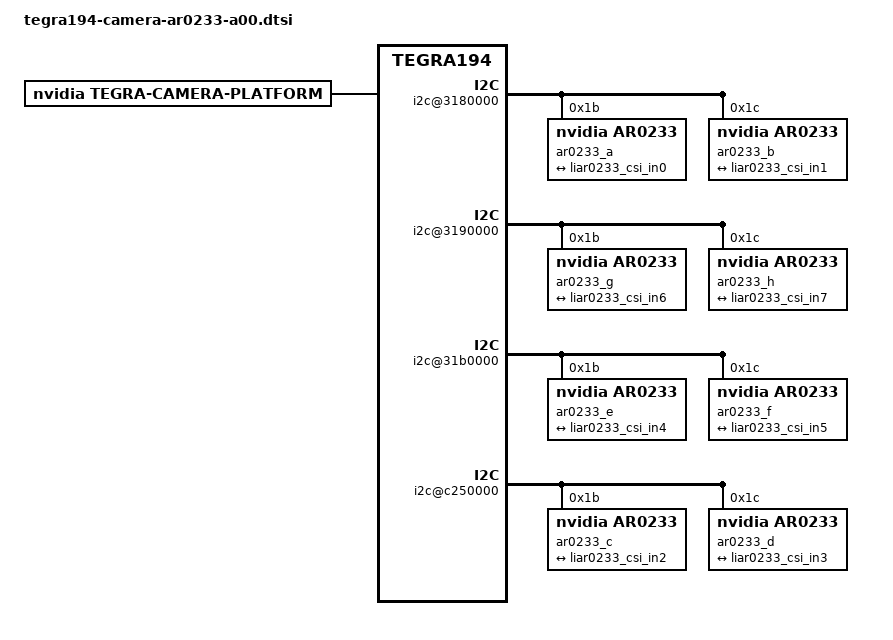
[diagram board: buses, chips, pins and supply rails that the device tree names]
/*
 * Copyright (c) 2020, NVIDIA CORPORATION.  All rights reserved.
 *
 * This program is free software; you can redistribute it and/or modify
 * it under the terms of the GNU General Public License as published by
 * the Free Software Foundation; either version 2 of the License, or
 * (at your option) any later version.
 *
 * This program is distributed in the hope that it will be useful, but WITHOUT
 * ANY WARRANTY; without even the implied warranty of MERCHANTABILITY or
 * FITNESS FOR A PARTICULAR PURPOSE.  See the GNU General Public License for
 * more details.
 *
 * You should have received a copy of the GNU General Public License
 * along with this program.  If not, see <http://www.gnu.org/licenses/>.
 */

/ {
	host1x {
		vi@15c10000 {
			num-channels = <8>;
			ports {
				#address-cells = <1>;
				#size-cells = <0>;
				port@0 {
					reg = <0>;
					liar0233_vi_in0: endpoint {
						vc-id = <0>;
						port-index = <0>;
						bus-width = <2>;
						remote-endpoint = <&liar0233_csi_out0>;
					};
				};
				port@1 {
					reg = <1>;
					liar0233_vi_in1: endpoint {
						vc-id = <1>;
						port-index = <0>;
						bus-width = <2>;
						remote-endpoint = <&liar0233_csi_out1>;
					};
				};
				port@2 {
					reg = <2>;
					liar0233_vi_in2: endpoint {
						vc-id = <0>;
						port-index = <2>;
						bus-width = <2>;
						remote-endpoint = <&liar0233_csi_out2>;
					};
				};
				port@3 {
					reg = <3>;
					liar0233_vi_in3: endpoint {
						vc-id = <1>;
						port-index = <2>;
						bus-width = <2>;
						remote-endpoint = <&liar0233_csi_out3>;
					};
				};
				port@4 {
					reg = <4>;
					liar0233_vi_in4: endpoint {
						vc-id = <0>;
						port-index = <4>;
						bus-width = <2>;
						remote-endpoint = <&liar0233_csi_out4>;
					};
				};
				port@5 {
					reg = <5>;
					liar0233_vi_in5: endpoint {
						vc-id = <1>;
						port-index = <4>;
						bus-width = <2>;
						remote-endpoint = <&liar0233_csi_out5>;
					};
				};
				port@6 {
					reg = <6>;
					liar0233_vi_in6: endpoint {
						vc-id = <0>;
						port-index = <5>;
						bus-width = <2>;
						remote-endpoint = <&liar0233_csi_out6>;
					};
				};
				port@7 {
					reg = <7>;
					liar0233_vi_in7: endpoint {
						vc-id = <1>;
						port-index = <5>;
						bus-width = <2>;
						remote-endpoint = <&liar0233_csi_out7>;
					};
				};
			};
		};

		nvcsi@15a00000 {
			num-channels = <8>;
			#address-cells = <1>;
			#size-cells = <0>;
			channel@0 {
				reg = <0>;
				ports {
					#address-cells = <1>;
					#size-cells = <0>;
					port@0 {
						reg = <0>;
						liar0233_csi_in0: endpoint@0 {
							port-index = <0>;
							bus-width = <2>;
							remote-endpoint = <&liar0233_ar0233_out0>;
						};
					};
					port@1 {
						reg = <1>;
						liar0233_csi_out0: endpoint@1 {
							remote-endpoint = <&liar0233_vi_in0>;
						};
					};
				};
			};

			channel@1 {
				reg = <1>;
				ports {
					#address-cells = <1>;
					#size-cells = <0>;
					port@0 {
						reg = <0>;
						liar0233_csi_in1: endpoint@2 {
							port-index = <0>;
							bus-width = <2>;
							remote-endpoint = <&liar0233_ar0233_out1>;
						};
					};
					port@1 {
						reg = <1>;
						liar0233_csi_out1: endpoint@3 {
							remote-endpoint = <&liar0233_vi_in1>;
						};
					};
				};
			};

			channel@2 {
				reg = <2>;
				ports {
					#address-cells = <1>;
					#size-cells = <0>;
					port@0 {
						reg = <0>;
						liar0233_csi_in2: endpoint@4 {
							port-index = <2>;
							bus-width = <2>;
							remote-endpoint = <&liar0233_ar0233_out2>;
						};
					};
					port@1 {
						reg = <1>;
						liar0233_csi_out2: endpoint@5 {
							remote-endpoint = <&liar0233_vi_in2>;
						};
					};
				};
			};

			channel@3 {
				reg = <3>;
				ports {
					#address-cells = <1>;
					#size-cells = <0>;
					port@0 {
						reg = <0>;
						liar0233_csi_in3: endpoint@6 {
							port-index = <2>;
							bus-width = <2>;
							remote-endpoint = <&liar0233_ar0233_out3>;
						};
					};
					port@1 {
						reg = <1>;
						liar0233_csi_out3: endpoint@7 {
							remote-endpoint = <&liar0233_vi_in3>;
						};
					};
				};
			};
			channel@4 {
				reg = <4>;
				ports {
					#address-cells = <1>;
					#size-cells = <0>;
					port@0 {
						reg = <0>;
						liar0233_csi_in4: endpoint@8 {
							port-index = <4>;
							bus-width = <2>;
							remote-endpoint = <&liar0233_ar0233_out4>;
						};
					};
					port@1 {
						reg = <1>;
						liar0233_csi_out4: endpoint@9 {
							remote-endpoint = <&liar0233_vi_in4>;
						};
					};
				};
			};
			channel@5 {
				reg = <5>;
				ports {
					#address-cells = <1>;
					#size-cells = <0>;
					port@0 {
						reg = <0>;
						liar0233_csi_in5: endpoint@10 {
							port-index = <4>;
							bus-width = <2>;
							remote-endpoint = <&liar0233_ar0233_out5>;
						};
					};
					port@1 {
						reg = <1>;
						liar0233_csi_out5: endpoint@11 {
							remote-endpoint = <&liar0233_vi_in5>;
						};
					};
				};
			};
			channel@6 {
				reg = <6>;
				ports {
					#address-cells = <1>;
					#size-cells = <0>;
					port@0 {
						reg = <0>;
						liar0233_csi_in6: endpoint@12 {
							port-index = <6>;
							bus-width = <2>;
							remote-endpoint = <&liar0233_ar0233_out6>;
						};
					};
					port@1 {
						reg = <1>;
						liar0233_csi_out6: endpoint@13 {
							remote-endpoint = <&liar0233_vi_in6>;
						};
					};
				};
			};
			channel@7 {
				reg = <7>;
				ports {
					#address-cells = <1>;
					#size-cells = <0>;
					port@0 {
						reg = <0>;
						liar0233_csi_in7: endpoint@14 {
							port-index = <6>;
							bus-width = <2>;
							remote-endpoint = <&liar0233_ar0233_out7>;
						};
					};
					port@1 {
						reg = <1>;
						liar0233_csi_out7: endpoint@15 {
							remote-endpoint = <&liar0233_vi_in7>;
						};
					};
				};
			};
		};
	};

	i2c@3180000 {
		ar0233_a@1b {
			compatible = "nvidia,ar0233";
			/* I2C device address */
			reg = <0x1b>;
			reg_mux = <0>;

			/* Physical dimensions of sensor */
			physical_w = "15.0";
			physical_h = "12.5";

			sensor_model = "ar0233";

			/* Defines number of frames to be dropped by driver internally after applying */
			/* sensor crop settings. Some sensors send corrupt frames after applying */
			/* crop co-ordinates */
			post_crop_frame_drop = "0";

			/* enable CID_SENSOR_MODE_ID for sensor modes selection */
			use_sensor_mode_id = "true";

			mode0 {/*mode ar0233_MODE_2048X1280_CROP_30FPS_LINEAR*/
				mclk_khz = "24000";
				num_lanes = "2";
				tegra_sinterface = "serial_a";
				vc_id = "0";
				discontinuous_clk = "no";
				dpcm_enable = "false";
				cil_settletime = "0";
				dynamic_pixel_bit_depth = "12";
				csi_pixel_bit_depth = "12";
				mode_type = "bayer";
				pixel_phase = "grbg";

				active_w = "2048";
				active_h = "1280";
				readout_orientation = "0";
				line_length = "3344";
				inherent_gain = "1";
				pix_clk_hz = "135030720";
				serdes_pix_clk_hz = "833333333";

				gain_factor = "100";
				min_gain_val = "100"; /* dB */
				max_gain_val = "800"; /* dB */
				step_gain_val = "1"; /* 0.3 */
				default_gain = "100";
				min_hdr_ratio = "1";
				max_hdr_ratio = "1";
				framerate_factor = "1000000";
				min_framerate = "30000000";
				max_framerate = "30000000";
				step_framerate = "1";
				default_framerate = "30000000";
				exposure_factor = "1000000";
				min_exp_time = "118"; /*us, 2 lines*/
				max_exp_time = "33333";
				step_exp_time = "1";
				default_exp_time = "33333";/* us */
				embedded_metadata_height = "0";
			};

			mode1 {/*mode ar0233_MODE_1920X1080_CROP_30FPS*/
				mclk_khz = "24000";
				num_lanes = "2";
				tegra_sinterface = "serial_a";
				vc_id = "0";
				discontinuous_clk = "no";
				dpcm_enable = "false";
				cil_settletime = "0";
				dynamic_pixel_bit_depth = "12";
				csi_pixel_bit_depth = "12";
				mode_type = "bayer";
				pixel_phase = "rggb";

				active_w = "1920";
				active_h = "1080";
				readout_orientation = "0";
				line_length = "3640";
				inherent_gain = "1";
				pix_clk_hz = "146983200";
				serdes_pix_clk_hz = "833333333";

				gain_factor = "100";
				min_gain_val = "100"; /* dB */
				max_gain_val = "800"; /* dB */
				step_gain_val = "1"; /* 0.3 */
				default_gain = "100";
				min_hdr_ratio = "1";
				max_hdr_ratio = "1";
				framerate_factor = "1000000";
				min_framerate = "30000000";
				max_framerate = "30000000";
				step_framerate = "1";
				default_framerate = "30000000";
				exposure_factor = "1000000";
				min_exp_time = "49"; /*us, 2 lines*/
				max_exp_time = "33333";
				step_exp_time = "1";
				default_exp_time = "33333";/* us */
				embedded_metadata_height = "0";
			};
			ports {
				#address-cells = <1>;
				#size-cells = <0>;
				port@0 {
					reg = <0>;
					liar0233_ar0233_out0: endpoint {
						vc-id = <0>;
						port-index = <0>;
						bus-width = <2>;
						remote-endpoint = <&liar0233_csi_in0>;
						};
					};
				};
			gmsl-link {
				src-csi-port = "b";
				dst-csi-port = "a";
				serdes-csi-link = "a";
				csi-mode = "1x4";
				st-vc = <0>;
				vc-id = <0>;
				num-lanes = <2>;
				streams = "ued-u1", "raw12";
				};
			};

		ar0233_b@1c {
			compatible = "nvidia,ar0233";

			reg = <0x1c>;
			reg_mux = <0>;
			/* Physical dimensions of sensor */
			physical_w = "15.0";
			physical_h = "12.5";

			sensor_model ="ar0233";

			/* Defines number of frames to be dropped by driver internally after applying */
			/* sensor crop settings. Some sensors send corrupt frames after applying */
			/* crop co-ordinates */
			post_crop_frame_drop = "0";

			/* Convert Gain to unit of dB (decibel) befor passing to kernel driver */
			//use_decibel_gain = "true";

			/* enable CID_SENSOR_MODE_ID for sensor modes selection */
			use_sensor_mode_id = "true";

			mode0 {/*mode ar0233_MODE_2048X1280_CROP_30FPS_LINEAR*/
				mclk_khz = "24000";
				num_lanes = "2";
				tegra_sinterface = "serial_a";
				vc_id = "1";
				discontinuous_clk = "no";
				dpcm_enable = "false";
				cil_settletime = "0";
				dynamic_pixel_bit_depth = "12";
				csi_pixel_bit_depth = "12";
				mode_type = "bayer";
				pixel_phase = "grbg";

				active_w = "2048";
				active_h = "1280";
				readout_orientation = "0";
				line_length = "3344";
				inherent_gain = "1";
				pix_clk_hz = "135030720";
				serdes_pix_clk_hz = "833333333";

				gain_factor = "100";
				min_gain_val = "100"; /* dB */
				max_gain_val = "800"; /* dB */
				step_gain_val = "1"; /* 0.3 */
				default_gain = "100";
				min_hdr_ratio = "1";
				max_hdr_ratio = "1";
				framerate_factor = "1000000";
				min_framerate = "30000000";
				max_framerate = "30000000";
				step_framerate = "1";
				default_framerate = "30000000";
				exposure_factor = "1000000";
				min_exp_time = "118"; /*us, 2 lines*/
				max_exp_time = "33333";
				step_exp_time = "1";
				default_exp_time = "33333";/* us */
				embedded_metadata_height = "0";
			};

			mode1 {/*mode ar0233_MODE_1920X1080_CROP_30FPS*/
				mclk_khz = "24000";
				num_lanes = "2";
				tegra_sinterface = "serial_a";
				vc_id = "1";
				discontinuous_clk = "no";
				dpcm_enable = "false";
				cil_settletime = "0";
				dynamic_pixel_bit_depth = "12";
				csi_pixel_bit_depth = "12";
				mode_type = "bayer";
				pixel_phase = "rggb";

				active_w = "1920";
				active_h = "1080";
				readout_orientation = "0";
				line_length = "3640";
				inherent_gain = "1";
				pix_clk_hz = "146983200";
				serdes_pix_clk_hz = "833333333";

				gain_factor = "100";
				min_gain_val = "100"; /* dB */
				max_gain_val = "800"; /* dB */
				step_gain_val = "1"; /* 0.3 */
				default_gain = "100";
				min_hdr_ratio = "1";
				max_hdr_ratio = "1";
				framerate_factor = "1000000";
				min_framerate = "30000000";
				max_framerate = "30000000";
				step_framerate = "1";
				default_framerate = "30000000";
				exposure_factor = "1000000";
				min_exp_time = "49"; /*us, 2 lines*/
				max_exp_time = "33333";
				step_exp_time = "1";
				default_exp_time = "33333";/* us */
				embedded_metadata_height = "0";
			};
			ports {
				#address-cells = <1>;
				#size-cells = <0>;
				port@0 {
					reg = <0>;
					liar0233_ar0233_out1: endpoint {
						vc-id = <1>;
						port-index = <0>;
						bus-width = <2>;
						remote-endpoint = <&liar0233_csi_in1>;
						};
					};
				};
			gmsl-link {
				src-csi-port = "b";
				dst-csi-port = "a";
				serdes-csi-link = "b";
				csi-mode = "1x4";
				st-vc = <0>;
				vc-id = <1>;
				num-lanes = <2>;
				streams = "ued-u1", "raw12";
				};
			};
	};

	i2c@3190000 {
		ar0233_g@1b {
			compatible = "nvidia,ar0233";
			/* I2C device address */
			reg = <0x1b>;
			reg_mux = <1>;

			/* Physical dimensions of sensor */
			physical_w = "15.0";
			physical_h = "12.5";

			sensor_model = "ar0233";

			/* Defines number of frames to be dropped by driver internally after applying */
			/* sensor crop settings. Some sensors send corrupt frames after applying */
			/* crop co-ordinates */
			post_crop_frame_drop = "0";

			/* enable CID_SENSOR_MODE_ID for sensor modes selection */
			use_sensor_mode_id = "true";

			mode0 {/*mode ar0233_MODE_2048X1280_CROP_30FPS_LINEAR*/
				mclk_khz = "24000";
				num_lanes = "2";
				tegra_sinterface = "serial_g";
				vc_id = "0";
				discontinuous_clk = "no";
				dpcm_enable = "false";
				cil_settletime = "0";
				dynamic_pixel_bit_depth = "12";
				csi_pixel_bit_depth = "12";
				mode_type = "bayer";
				pixel_phase = "grbg";

				active_w = "2048";
				active_h = "1280";
				readout_orientation = "0";
				line_length = "3344";
				inherent_gain = "1";
				pix_clk_hz = "135030720";
				serdes_pix_clk_hz = "833333333";

				gain_factor = "100";
				min_gain_val = "100"; /* dB */
				max_gain_val = "800"; /* dB */
				step_gain_val = "1"; /* 0.3 */
				default_gain = "100";
				min_hdr_ratio = "1";
				max_hdr_ratio = "1";
				framerate_factor = "1000000";
				min_framerate = "30000000";
				max_framerate = "30000000";
				step_framerate = "1";
				default_framerate = "30000000";
				exposure_factor = "1000000";
				min_exp_time = "118"; /*us, 2 lines*/
				max_exp_time = "33333";
				step_exp_time = "1";
				default_exp_time = "33333";/* us */
				embedded_metadata_height = "0";
			};

			mode1 {/*mode ar0233_MODE_1920X1080_CROP_30FPS*/
				mclk_khz = "24000";
				num_lanes = "2";
				tegra_sinterface = "serial_g";
				vc_id = "0";
				discontinuous_clk = "no";
				dpcm_enable = "false";
				cil_settletime = "0";
				dynamic_pixel_bit_depth = "12";
				csi_pixel_bit_depth = "12";
				mode_type = "bayer";
				pixel_phase = "rggb";

				active_w = "1920";
				active_h = "1080";
				readout_orientation = "0";
				line_length = "3640";
				inherent_gain = "1";
				pix_clk_hz = "146983200";
				serdes_pix_clk_hz = "833333333";

				gain_factor = "100";
				min_gain_val = "100"; /* dB */
				max_gain_val = "800"; /* dB */
				step_gain_val = "1"; /* 0.3 */
				default_gain = "100";
				min_hdr_ratio = "1";
				max_hdr_ratio = "1";
				framerate_factor = "1000000";
				min_framerate = "30000000";
				max_framerate = "30000000";
				step_framerate = "1";
				default_framerate = "30000000";
				exposure_factor = "1000000";
				min_exp_time = "49"; /*us, 2 lines*/
				max_exp_time = "33333";
				step_exp_time = "1";
				default_exp_time = "33333";/* us */
				embedded_metadata_height = "0";
			};
			ports {
				#address-cells = <1>;
				#size-cells = <0>;
				port@0 {
					reg = <0>;
					liar0233_ar0233_out6: endpoint {
						vc-id = <0>;
						port-index = <5>;
						bus-width = <2>;
						remote-endpoint = <&liar0233_csi_in6>;
						};
					};
				};
			gmsl-link {
				src-csi-port = "b";
				dst-csi-port = "a";
				serdes-csi-link = "a";
				csi-mode = "1x4";
				st-vc = <0>;
				vc-id = <0>;
				num-lanes = <2>;
				streams = "ued-u1", "raw12";
				};
			};

		ar0233_h@1c {
			compatible = "nvidia,ar0233";

			reg = <0x1c>;
			reg_mux = <1>;
			/* Physical dimensions of sensor */
			physical_w = "15.0";
			physical_h = "12.5";

			sensor_model ="ar0233";

			/* Defines number of frames to be dropped by driver internally after applying */
			/* sensor crop settings. Some sensors send corrupt frames after applying */
			/* crop co-ordinates */
			post_crop_frame_drop = "0";

			/* Convert Gain to unit of dB (decibel) befor passing to kernel driver */
			//use_decibel_gain = "true";

			/* enable CID_SENSOR_MODE_ID for sensor modes selection */
			use_sensor_mode_id = "true";

			mode0 {/*mode ar0233_MODE_2048X1280_CROP_30FPS_LINEAR*/
				mclk_khz = "24000";
				num_lanes = "2";
				tegra_sinterface = "serial_g";
				vc_id = "1";
				discontinuous_clk = "no";
				dpcm_enable = "false";
				cil_settletime = "0";
				dynamic_pixel_bit_depth = "12";
				csi_pixel_bit_depth = "12";
				mode_type = "bayer";
				pixel_phase = "grbg";

				active_w = "2048";
				active_h = "1280";
				readout_orientation = "0";
				line_length = "3344";
				inherent_gain = "1";
				pix_clk_hz = "135030720";
				serdes_pix_clk_hz = "833333333";

				gain_factor = "100";
				min_gain_val = "100"; /* dB */
				max_gain_val = "800"; /* dB */
				step_gain_val = "1"; /* 0.3 */
				default_gain = "100";
				min_hdr_ratio = "1";
				max_hdr_ratio = "1";
				framerate_factor = "1000000";
				min_framerate = "30000000";
				max_framerate = "30000000";
				step_framerate = "1";
				default_framerate = "30000000";
				exposure_factor = "1000000";
				min_exp_time = "118"; /*us, 2 lines*/
				max_exp_time = "33333";
				step_exp_time = "1";
				default_exp_time = "33333";/* us */
				embedded_metadata_height = "0";
			};

			mode1 {/*mode ar0233_MODE_1920X1080_CROP_30FPS*/
				mclk_khz = "24000";
				num_lanes = "2";
				tegra_sinterface = "serial_g";
				vc_id = "1";
				discontinuous_clk = "no";
				dpcm_enable = "false";
				cil_settletime = "0";
				dynamic_pixel_bit_depth = "12";
				csi_pixel_bit_depth = "12";
				mode_type = "bayer";
				pixel_phase = "rggb";

				active_w = "1920";
				active_h = "1080";
				readout_orientation = "0";
				line_length = "3640";
				inherent_gain = "1";
				pix_clk_hz = "146983200";
				serdes_pix_clk_hz = "833333333";

				gain_factor = "100";
				min_gain_val = "100"; /* dB */
				max_gain_val = "800"; /* dB */
				step_gain_val = "1"; /* 0.3 */
				default_gain = "100";
				min_hdr_ratio = "1";
				max_hdr_ratio = "1";
				framerate_factor = "1000000";
				min_framerate = "30000000";
				max_framerate = "30000000";
				step_framerate = "1";
				default_framerate = "30000000";
				exposure_factor = "1000000";
				min_exp_time = "49"; /*us, 2 lines*/
				max_exp_time = "33333";
				step_exp_time = "1";
				default_exp_time = "33333";/* us */
				embedded_metadata_height = "0";
			};
			ports {
				#address-cells = <1>;
				#size-cells = <0>;
				port@0 {
					reg = <0>;
					liar0233_ar0233_out7: endpoint {
						vc-id = <1>;
						port-index = <5>;
						bus-width = <2>;
						remote-endpoint = <&liar0233_csi_in7>;
						};
					};
				};
			gmsl-link {
				src-csi-port = "b";
				dst-csi-port = "a";
				serdes-csi-link = "b";
				csi-mode = "1x4";
				st-vc = <0>;
				vc-id = <1>;
				num-lanes = <2>;
				streams = "ued-u1", "raw12";
				};
			};
	};

	i2c@31b0000 {
		ar0233_e@1b {
			compatible = "nvidia,ar0233";
			/* I2C device address */
			reg = <0x1b>;
			reg_mux = <2>;

			/* Physical dimensions of sensor */
			physical_w = "15.0";
			physical_h = "12.5";

			sensor_model = "ar0233";

			/* Defines number of frames to be dropped by driver internally after applying */
			/* sensor crop settings. Some sensors send corrupt frames after applying */
			/* crop co-ordinates */
			post_crop_frame_drop = "0";

			/* enable CID_SENSOR_MODE_ID for sensor modes selection */
			use_sensor_mode_id = "true";

			mode0 {/*mode ar0233_MODE_2048X1280_CROP_30FPS_LINEAR*/
				mclk_khz = "24000";
				num_lanes = "2";
				tegra_sinterface = "serial_e";
				vc_id = "0";
				discontinuous_clk = "no";
				dpcm_enable = "false";
				cil_settletime = "0";
				dynamic_pixel_bit_depth = "12";
				csi_pixel_bit_depth = "12";
				mode_type = "bayer";
				pixel_phase = "grbg";

				active_w = "2048";
				active_h = "1280";
				readout_orientation = "0";
				line_length = "3344";
				inherent_gain = "1";
				pix_clk_hz = "135030720";
				serdes_pix_clk_hz = "833333333";

				gain_factor = "100";
				min_gain_val = "100"; /* dB */
				max_gain_val = "800"; /* dB */
				step_gain_val = "1"; /* 0.3 */
				default_gain = "100";
				min_hdr_ratio = "1";
				max_hdr_ratio = "1";
				framerate_factor = "1000000";
				min_framerate = "30000000";
				max_framerate = "30000000";
				step_framerate = "1";
				default_framerate = "30000000";
				exposure_factor = "1000000";
				min_exp_time = "118"; /*us, 2 lines*/
				max_exp_time = "33333";
				step_exp_time = "1";
				default_exp_time = "33333";/* us */
				embedded_metadata_height = "0";
			};

			mode1 {/*mode ar0233_MODE_1920X1080_CROP_30FPS*/
				mclk_khz = "24000";
				num_lanes = "2";
				tegra_sinterface = "serial_e";
				vc_id = "0";
				discontinuous_clk = "no";
				dpcm_enable = "false";
				cil_settletime = "0";
				dynamic_pixel_bit_depth = "12";
				csi_pixel_bit_depth = "12";
				mode_type = "bayer";
				pixel_phase = "rggb";

				active_w = "1920";
				active_h = "1080";
				readout_orientation = "0";
				line_length = "3640";
				inherent_gain = "1";
				pix_clk_hz = "146983200";
				serdes_pix_clk_hz = "833333333";

				gain_factor = "100";
				min_gain_val = "100"; /* dB */
				max_gain_val = "800"; /* dB */
				step_gain_val = "1"; /* 0.3 */
				default_gain = "100";
				min_hdr_ratio = "1";
				max_hdr_ratio = "1";
				framerate_factor = "1000000";
				min_framerate = "30000000";
				max_framerate = "30000000";
				step_framerate = "1";
				default_framerate = "30000000";
				exposure_factor = "1000000";
				min_exp_time = "49"; /*us, 2 lines*/
				max_exp_time = "33333";
				step_exp_time = "1";
				default_exp_time = "33333";/* us */
				embedded_metadata_height = "0";
			};
			ports {
				#address-cells = <1>;
				#size-cells = <0>;
				port@0 {
					reg = <0>;
					liar0233_ar0233_out4: endpoint {
						vc-id = <0>;
						port-index = <4>;
						bus-width = <2>;
						remote-endpoint = <&liar0233_csi_in4>;
						};
					};
				};
			gmsl-link {
				src-csi-port = "b";
				dst-csi-port = "a";
				serdes-csi-link = "a";
				csi-mode = "1x4";
				st-vc = <0>;
				vc-id = <0>;
				num-lanes = <2>;
				streams = "ued-u1", "raw12";
				};
			};

		ar0233_f@1c {
			compatible = "nvidia,ar0233";

			reg = <0x1c>;
			reg_mux = <2>;
			/* Physical dimensions of sensor */
			physical_w = "15.0";
			physical_h = "12.5";

			sensor_model ="ar0233";

			/* Defines number of frames to be dropped by driver internally after applying */
			/* sensor crop settings. Some sensors send corrupt frames after applying */
			/* crop co-ordinates */
			post_crop_frame_drop = "0";

			/* Convert Gain to unit of dB (decibel) befor passing to kernel driver */
			//use_decibel_gain = "true";

			/* enable CID_SENSOR_MODE_ID for sensor modes selection */
			use_sensor_mode_id = "true";

			mode0 {/*mode ar0233_MODE_2048X1280_CROP_30FPS_LINEAR*/
				mclk_khz = "24000";
				num_lanes = "2";
				tegra_sinterface = "serial_e";
				vc_id = "1";
				discontinuous_clk = "no";
				dpcm_enable = "false";
				cil_settletime = "0";
				dynamic_pixel_bit_depth = "12";
				csi_pixel_bit_depth = "12";
				mode_type = "bayer";
				pixel_phase = "grbg";

				active_w = "2048";
				active_h = "1280";
				readout_orientation = "0";
				line_length = "3344";
				inherent_gain = "1";
				pix_clk_hz = "135030720";
				serdes_pix_clk_hz = "833333333";

				gain_factor = "100";
				min_gain_val = "100"; /* dB */
				max_gain_val = "800"; /* dB */
				step_gain_val = "1"; /* 0.3 */
				default_gain = "100";
				min_hdr_ratio = "1";
				max_hdr_ratio = "1";
				framerate_factor = "1000000";
				min_framerate = "30000000";
				max_framerate = "30000000";
				step_framerate = "1";
				default_framerate = "30000000";
				exposure_factor = "1000000";
				min_exp_time = "118"; /*us, 2 lines*/
				max_exp_time = "33333";
				step_exp_time = "1";
				default_exp_time = "33333";/* us */
				embedded_metadata_height = "0";
			};

			mode1 {/*mode ar0233_MODE_1920X1080_CROP_30FPS*/
				mclk_khz = "24000";
				num_lanes = "2";
				tegra_sinterface = "serial_e";
				vc_id = "1";
				discontinuous_clk = "no";
				dpcm_enable = "false";
				cil_settletime = "0";
				dynamic_pixel_bit_depth = "12";
				csi_pixel_bit_depth = "12";
				mode_type = "bayer";
				pixel_phase = "rggb";

				active_w = "1920";
				active_h = "1080";
				readout_orientation = "0";
				line_length = "3640";
				inherent_gain = "1";
				pix_clk_hz = "146983200";
				serdes_pix_clk_hz = "833333333";

				gain_factor = "100";
				min_gain_val = "100"; /* dB */
				max_gain_val = "800"; /* dB */
				step_gain_val = "1"; /* 0.3 */
				default_gain = "100";
				min_hdr_ratio = "1";
				max_hdr_ratio = "1";
				framerate_factor = "1000000";
				min_framerate = "30000000";
				max_framerate = "30000000";
				step_framerate = "1";
				default_framerate = "30000000";
				exposure_factor = "1000000";
				min_exp_time = "49"; /*us, 2 lines*/
				max_exp_time = "33333";
				step_exp_time = "1";
				default_exp_time = "33333";/* us */
				embedded_metadata_height = "0";
			};
			ports {
				#address-cells = <1>;
				#size-cells = <0>;
				port@0 {
					reg = <0>;
					liar0233_ar0233_out5: endpoint {
						vc-id = <1>;
						port-index = <4>;
						bus-width = <2>;
						remote-endpoint = <&liar0233_csi_in5>;
						};
					};
				};
			gmsl-link {
				src-csi-port = "b";
				dst-csi-port = "a";
				serdes-csi-link = "b";
				csi-mode = "1x4";
				st-vc = <0>;
				vc-id = <1>;
				num-lanes = <2>;
				streams = "ued-u1", "raw12";
				};
			};
	};

	i2c@c250000 {
		ar0233_c@1b {
			compatible = "nvidia,ar0233";
			/* I2C device address */
			reg = <0x1b>;
			reg_mux = <3>;

			/* Physical dimensions of sensor */
			physical_w = "15.0";
			physical_h = "12.5";

			sensor_model = "ar0233";

			/* Defines number of frames to be dropped by driver internally after applying */
			/* sensor crop settings. Some sensors send corrupt frames after applying */
			/* crop co-ordinates */
			post_crop_frame_drop = "0";

			/* enable CID_SENSOR_MODE_ID for sensor modes selection */
			use_sensor_mode_id = "true";

			mode0 {/*mode ar0233_MODE_2048X1280_CROP_30FPS_LINEAR*/
				mclk_khz = "24000";
				num_lanes = "2";
				tegra_sinterface = "serial_c";
				vc_id = "0";
				discontinuous_clk = "no";
				dpcm_enable = "false";
				cil_settletime = "0";
				dynamic_pixel_bit_depth = "12";
				csi_pixel_bit_depth = "12";
				mode_type = "bayer";
				pixel_phase = "grbg";

				active_w = "2048";
				active_h = "1280";
				readout_orientation = "0";
				line_length = "3344";
				inherent_gain = "1";
				pix_clk_hz = "135030720";
				serdes_pix_clk_hz = "833333333";

				gain_factor = "100";
				min_gain_val = "100"; /* dB */
				max_gain_val = "800"; /* dB */
				step_gain_val = "1"; /* 0.3 */
				default_gain = "100";
				min_hdr_ratio = "1";
				max_hdr_ratio = "1";
				framerate_factor = "1000000";
				min_framerate = "30000000";
				max_framerate = "30000000";
				step_framerate = "1";
				default_framerate = "30000000";
				exposure_factor = "1000000";
				min_exp_time = "118"; /*us, 2 lines*/
				max_exp_time = "33333";
				step_exp_time = "1";
				default_exp_time = "33333";/* us */
				embedded_metadata_height = "0";
			};

			mode1 {/*mode ar0233_MODE_1920X1080_CROP_30FPS*/
				mclk_khz = "24000";
				num_lanes = "2";
				tegra_sinterface = "serial_c";
				vc_id = "0";
				discontinuous_clk = "no";
				dpcm_enable = "false";
				cil_settletime = "0";
				dynamic_pixel_bit_depth = "12";
				csi_pixel_bit_depth = "12";
				mode_type = "bayer";
				pixel_phase = "rggb";

				active_w = "1920";
				active_h = "1080";
				readout_orientation = "0";
				line_length = "3640";
				inherent_gain = "1";
				pix_clk_hz = "146983200";
				serdes_pix_clk_hz = "833333333";

				gain_factor = "100";
				min_gain_val = "100"; /* dB */
				max_gain_val = "800"; /* dB */
				step_gain_val = "1"; /* 0.3 */
				default_gain = "100";
				min_hdr_ratio = "1";
				max_hdr_ratio = "1";
				framerate_factor = "1000000";
				min_framerate = "30000000";
				max_framerate = "30000000";
				step_framerate = "1";
				default_framerate = "30000000";
				exposure_factor = "1000000";
				min_exp_time = "49"; /*us, 2 lines*/
				max_exp_time = "33333";
				step_exp_time = "1";
				default_exp_time = "33333";/* us */
				embedded_metadata_height = "0";
			};
			ports {
				#address-cells = <1>;
				#size-cells = <0>;
				port@0 {
					reg = <0>;
					liar0233_ar0233_out2: endpoint {
						vc-id = <0>;
						port-index = <2>;
						bus-width = <2>;
						remote-endpoint = <&liar0233_csi_in2>;
						};
					};
				};
			gmsl-link {
				src-csi-port = "b";
				dst-csi-port = "a";
				serdes-csi-link = "a";
				csi-mode = "1x4";
				st-vc = <0>;
				vc-id = <0>;
				num-lanes = <2>;
				streams = "ued-u1", "raw12";
				};
			};

		ar0233_d@1c {
			compatible = "nvidia,ar0233";

			reg = <0x1c>;
			reg_mux = <3>;
			/* Physical dimensions of sensor */
			physical_w = "15.0";
			physical_h = "12.5";

			sensor_model ="ar0233";

			/* Defines number of frames to be dropped by driver internally after applying */
			/* sensor crop settings. Some sensors send corrupt frames after applying */
			/* crop co-ordinates */
			post_crop_frame_drop = "0";

			/* Convert Gain to unit of dB (decibel) befor passing to kernel driver */
			//use_decibel_gain = "true";

			/* enable CID_SENSOR_MODE_ID for sensor modes selection */
			use_sensor_mode_id = "true";

			mode0 {/*mode ar0233_MODE_2048X1280_CROP_30FPS_LINEAR*/
				mclk_khz = "24000";
				num_lanes = "2";
				tegra_sinterface = "serial_c";
				vc_id = "1";
				discontinuous_clk = "no";
				dpcm_enable = "false";
				cil_settletime = "0";
				dynamic_pixel_bit_depth = "12";
				csi_pixel_bit_depth = "12";
				mode_type = "bayer";
				pixel_phase = "grbg";

				active_w = "2048";
				active_h = "1280";
				readout_orientation = "0";
				line_length = "3344";
				inherent_gain = "1";
				pix_clk_hz = "135030720";
				serdes_pix_clk_hz = "833333333";

				gain_factor = "100";
				min_gain_val = "100"; /* dB */
				max_gain_val = "800"; /* dB */
				step_gain_val = "1"; /* 0.3 */
				default_gain = "100";
				min_hdr_ratio = "1";
				max_hdr_ratio = "1";
				framerate_factor = "1000000";
				min_framerate = "30000000";
				max_framerate = "30000000";
				step_framerate = "1";
				default_framerate = "30000000";
				exposure_factor = "1000000";
				min_exp_time = "118"; /*us, 2 lines*/
				max_exp_time = "33333";
				step_exp_time = "1";
				default_exp_time = "33333";/* us */
				embedded_metadata_height = "0";
			};

			mode1 {/*mode ar0233_MODE_1920X1080_CROP_30FPS*/
				mclk_khz = "24000";
				num_lanes = "2";
				tegra_sinterface = "serial_c";
				vc_id = "1";
				discontinuous_clk = "no";
				dpcm_enable = "false";
				cil_settletime = "0";
				dynamic_pixel_bit_depth = "12";
				csi_pixel_bit_depth = "12";
				mode_type = "bayer";
				pixel_phase = "rggb";

				active_w = "1920";
				active_h = "1080";
				readout_orientation = "0";
				line_length = "3640";
				inherent_gain = "1";
				pix_clk_hz = "146983200";
				serdes_pix_clk_hz = "833333333";

				gain_factor = "100";
				min_gain_val = "100"; /* dB */
				max_gain_val = "800"; /* dB */
				step_gain_val = "1"; /* 0.3 */
				default_gain = "100";
				min_hdr_ratio = "1";
				max_hdr_ratio = "1";
				framerate_factor = "1000000";
				min_framerate = "30000000";
				max_framerate = "30000000";
				step_framerate = "1";
				default_framerate = "30000000";
				exposure_factor = "1000000";
				min_exp_time = "49"; /*us, 2 lines*/
				max_exp_time = "33333";
				step_exp_time = "1";
				default_exp_time = "33333";/* us */
				embedded_metadata_height = "0";
			};
			ports {
				#address-cells = <1>;
				#size-cells = <0>;
				port@0 {
					reg = <0>;
					liar0233_ar0233_out3: endpoint {
						vc-id = <1>;
						port-index = <2>;
						bus-width = <2>;
						remote-endpoint = <&liar0233_csi_in3>;
						};
					};
				};
			gmsl-link {
				src-csi-port = "b";
				dst-csi-port = "a";
				serdes-csi-link = "b";
				csi-mode = "1x4";
				st-vc = <0>;
				vc-id = <1>;
				num-lanes = <2>;
				streams = "ued-u1", "raw12";
				};
			};
	};
};

/ {
	tegra-camera-platform {
		compatible = "nvidia, tegra-camera-platform";
		/**
		* Physical settings to calculate max ISO BW
		*
		* num_csi_lanes = <>;
		* Total number of CSI lanes when all cameras are active
		*
		* max_lane_speed = <>;
		* Max lane speed in Kbit/s
		*
		* min_bits_per_pixel = <>;
		* Min bits per pixel
		*
		* vi_peak_byte_per_pixel = <>;
		* Max byte per pixel for the VI ISO case
		*
		* vi_bw_margin_pct = <>;
		* Vi bandwidth margin in percentage
		*
		* max_pixel_rate = <>;
		* Max pixel rate in Kpixel/s for the ISP ISO case
		*
		* isp_peak_byte_per_pixel = <>;
		* Max byte per pixel for the ISP ISO case
		*
		* isp_bw_margin_pct = <>;
		* Isp bandwidth margin in percentage
		*/
		num_csi_lanes = <8>;
		max_lane_speed = <4000000>;
		min_bits_per_pixel = <10>;
		vi_peak_byte_per_pixel = <2>;
		vi_bw_margin_pct = <25>;
		isp_peak_byte_per_pixel = <5>;
		isp_bw_margin_pct = <25>;

		/**
		 * The general guideline for naming badge_info contains 3 parts, and is as follows,
		 * The first part is the camera_board_id for the module; if the module is in a FFD
		 * platform, then use the platform name for this part.
		 * The second part contains the position of the module, ex. "rear" or "front".
		 * The third part contains the last 6 characters of a part number which is found
		 * in the module's specsheet from the vender.
		 */
		modules {
			module0 {
				badge = "ar0233_rear_liar0233";
				position = "rear";
				orientation = "1";
				drivernode0 {
					/* Declare PCL support driver (classically known as guid)  */
					pcl_id = "v4l2_sensor";
					/* Driver v4l2 device name */
					devname = "ar0233 2-001b";
					/* Declare the device-tree hierarchy to driver instance */
					proc-device-tree = "/proc/device-tree/i2c@3180000/ar0233_a@1b";
				};
			};

			module1 {
				badge = "ar0233_front_liar0233";
				position = "front";
				orientation = "1";
				drivernode0 {
					/* Declare PCL support driver (classically known as guid)  */
					pcl_id = "v4l2_sensor";
					/* Driver v4l2 device name */
					devname = "ar0233 2-001c";
					/* Declare the device-tree hierarchy to driver instance */
					proc-device-tree = "/proc/device-tree/i2c@3180000/ar0233_b@1c";
				};
			};

			module2 {
				badge = "ar0233_topright_liar0233";
				position = "topright";
				orientation = "1";
				drivernode0 {
					/* Declare PCL support driver (classically known as guid)  */
					pcl_id = "v4l2_sensor";
					/* Driver v4l2 device name */
					devname = "ar0233 7-001b";
					/* Declare the device-tree hierarchy to driver instance */
					proc-device-tree = "/proc/device-tree/i2c@c250000/ar0233_c@1b";
				};
			};

			module3 {
				badge = "ar0233_bottomright_liar0233";
				position = "bottomright";
				orientation = "1";
				drivernode0 {
					/* Declare PCL support driver (classically known as guid)  */
					pcl_id = "v4l2_sensor";
					/* Driver v4l2 device name */
					devname = "ar0233 7-001c";
					/* Declare the device-tree hierarchy to driver instance */
					proc-device-tree = "/proc/device-tree/i2c@c250000/ar0233_d@1c";
				};
			};

			module4 {
				badge = "ar0233_topleft_liar0233";
				position = "topleft";
				orientation = "1";
				drivernode0 {
					/* Declare PCL support driver (classically known as guid)  */
					pcl_id = "v4l2_sensor";
					/* Driver v4l2 device name */
					devname = "ar0233 5-001b";
					/* Declare the device-tree hierarchy to driver instance */
					proc-device-tree = "/proc/device-tree/i2c@31b0000/ar0233_e@1b";
				};
			};

			module5 {
				badge = "ar0233_centerright_liar0233";
				position = "centerright";
				orientation = "1";
				drivernode0 {
					/* Declare PCL support driver (classically known as guid)  */
					pcl_id = "v4l2_sensor";
					/* Driver v4l2 device name */
					devname = "ar0233 5-001c";
					/* Declare the device-tree hierarchy to driver instance */
					proc-device-tree = "/proc/device-tree/i2c@31b0000/ar0233_f@1c";
				};
			};

			module6 {
				badge = "ar0233_centerleft_liar0233";
				position = "centerleft";
				orientation = "1";
				drivernode0 {
					/* Declare PCL support driver (classically known as guid)  */
					pcl_id = "v4l2_sensor";
					/* Driver v4l2 device name */
					devname = "ar0233 3-001b";
					/* Declare the device-tree hierarchy to driver instance */
					proc-device-tree = "/proc/device-tree/i2c@3190000/ar0233_g@1b";
				};
			};

			module7 {
				badge = "ar0233_bottomleft_liar0233";
				position = "bottomleft";
				orientation = "1";
				drivernode0 {
					/* Declare PCL support driver (classically known as guid)  */
					pcl_id = "v4l2_sensor";
					/* Driver v4l2 device name */
					devname = "ar0233 3-001c";
					/* Declare the device-tree hierarchy to driver instance */
					proc-device-tree = "/proc/device-tree/i2c@3190000/ar0233_h@1c";
				};
			};

		};
	};
};
